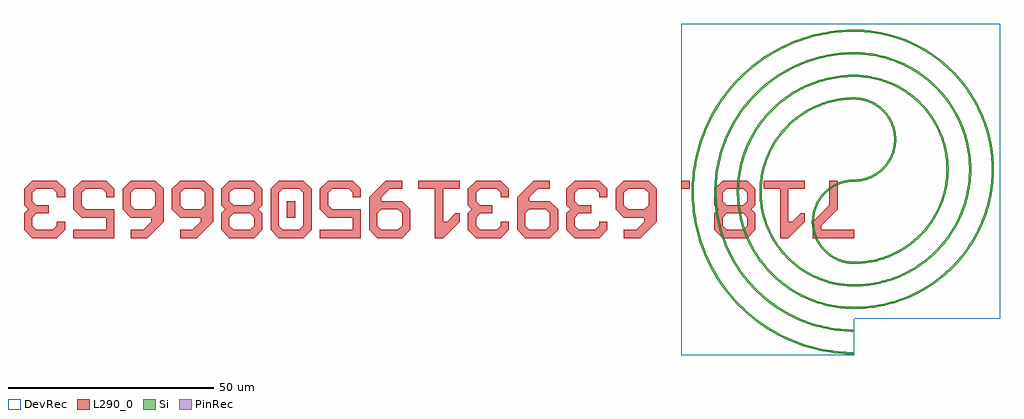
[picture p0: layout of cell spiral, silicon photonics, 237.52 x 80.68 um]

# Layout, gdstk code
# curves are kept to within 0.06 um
from math import pi, radians
import gdstk
lib = gdstk.Library(unit=1e-6, precision=1e-09)
def R(c, l, rs):  # rectangles x0, y0, x1, y1
    for r in rs: c.add(gdstk.rectangle(r[:2], r[2:], *l))
def P(c, l, *ps):  # polygons
    for p in ps: c.add(gdstk.Polygon(p, *l))
Si = (1, 0)
PinRec = (1, 10)
DevRec = (68, 0)
L290_0 = (290, 0)

spiral = lib.new_cell('Spiral')
P(spiral, Si, [(0,-0.25),(0,0.25),(1.194,0.323),(2.369,0.542),(3.509,0.903),(4.384,1.291),(5.808,2.169),(7.061,3.277),(8.237,4.784),(9.097,6.491),(9.563,8.098),(9.75,10),(9.563,11.902),(9.097,13.509),(8.237,15.216),(7.061,16.723),(5.808,17.831),(4.384,18.709),(3.509,19.097),(2.369,19.458),(1.194,19.677),(0,19.75),(0,20.25),(1.005,20.201),(2,20.053),(2.975,19.809),(3.923,19.47),(5.695,18.523),(7.248,17.248),(8.523,15.695),(9.47,13.923),(9.809,12.975),(10.053,12),(10.201,11.005),(10.25,10),(10.201,8.995),(10.053,8),(9.809,7.025),(9.47,6.077),(8.523,4.305),(7.248,2.752),(5.695,1.477),(3.923,0.53),(2.975,0.191),(2,-0.053),(1.005,-0.201)],
  [(0,-20.25),(-1.005,-20.201),(-2,-20.053),(-3.923,-19.47),(-5.695,-18.523),(-7.248,-17.248),(-8.523,-15.695),(-9.47,-13.923),(-10.053,-12),(-10.201,-11.005),(-10.25,-10),(-10.201,-8.995),(-10.001,-7.754),(-9.371,-5.846),(-8.792,-4.73),(-8.233,-3.894),(-7.424,-2.932),(-6.695,-2.239),(-5.052,-1.082),(-4.154,-0.629),(-3.215,-0.267),(-1.504,0.139),(0.956,0.297),(2.136,0.487),(3.509,0.903),(4.806,1.517),(6.185,2.463),(7.537,3.815),(8.599,5.404),(9.258,6.942),(9.563,8.098),(9.724,9.283),(9.747,10.239),(9.644,11.431),(9.458,12.369),(9.097,13.509),(8.599,14.596),(7.971,15.614),(7.224,16.548),(6.548,17.224),(5.013,18.363),(3.951,18.914),(2.6,19.397),(1.194,19.677),(0,19.75),(0,20.25),(1.005,20.201),(2,20.053),(3.923,19.47),(5.695,18.523),(7.248,17.248),(8.523,15.695),(9.47,13.923),(10.053,12),(10.201,11.005),(10.25,10),(10.201,8.995),(10.001,7.754),(9.371,5.846),(8.792,4.73),(8.233,3.894),(7.424,2.932),(6.695,2.239),(5.052,1.082),(4.154,0.629),(3.215,0.267),(1.504,-0.139),(-0.956,-0.297),(-2.136,-0.487),(-3.509,-0.903),(-4.806,-1.517),(-6.185,-2.463),(-7.537,-3.815),(-8.599,-5.404),(-9.258,-6.942),(-9.563,-8.098),(-9.724,-9.283),(-9.747,-10.239),(-9.644,-11.431),(-9.458,-12.369),(-9.097,-13.509),(-8.599,-14.596),(-7.971,-15.614),(-7.224,-16.548),(-6.548,-17.224),(-5.013,-18.363),(-3.951,-18.914),(-2.6,-19.397),(-1.194,-19.677),(0,-19.75)],
  [(0,-20.25),(0,-19.75),(2.205,-19.642),(4.39,-19.318),(6.531,-18.781),(9.118,-17.82),(11.09,-16.827),(12.956,-15.646),(14.274,-14.643),(15.91,-13.16),(17.393,-11.524),(18.708,-9.75),(19.843,-7.856),(20.787,-5.86),(21.531,-3.781),(22.068,-1.64),(22.392,0.545),(22.5,2.75),(22.392,4.955),(22.068,7.14),(21.531,9.281),(20.787,11.36),(19.843,13.356),(18.708,15.25),(17.393,17.024),(15.91,18.66),(14.274,20.143),(12.956,21.146),(11.09,22.327),(9.118,23.32),(6.531,24.281),(4.39,24.818),(2.205,25.142),(0,25.25),(0,25.75),(2.254,25.639),(4.487,25.308),(6.677,24.76),(8.802,23.999),(10.842,23.034),(12.778,21.874),(14.591,20.529),(16.263,19.013),(17.779,17.341),(19.124,15.528),(20.284,13.592),(21.249,11.552),(22.01,9.427),(22.558,7.237),(22.889,5.004),(23,2.75),(22.889,0.496),(22.558,-1.737),(22.01,-3.927),(21.249,-6.052),(20.284,-8.092),(19.124,-10.028),(17.779,-11.841),(16.263,-13.513),(14.591,-15.029),(12.778,-16.374),(10.842,-17.534),(8.802,-18.499),(6.677,-19.26),(4.487,-19.808),(2.254,-20.139)],
  [(0,-25.75),(-2.254,-25.639),(-4.487,-25.308),(-6.677,-24.76),(-8.802,-23.999),(-10.842,-23.034),(-12.778,-21.874),(-14.591,-20.529),(-16.263,-19.013),(-17.779,-17.341),(-19.124,-15.528),(-20.284,-13.592),(-21.249,-11.552),(-22.01,-9.427),(-22.558,-7.237),(-22.889,-5.004),(-23,-2.75),(-22.889,-0.496),(-22.558,1.737),(-22.01,3.927),(-21.249,6.052),(-20.284,8.092),(-19.124,10.028),(-17.779,11.841),(-16.263,13.513),(-14.591,15.029),(-12.778,16.374),(-10.842,17.534),(-8.802,18.499),(-6.677,19.26),(-4.487,19.808),(-2.254,20.139),(0,20.25),(0,19.75),(-2.205,19.642),(-4.39,19.318),(-6.531,18.781),(-9.118,17.82),(-11.09,16.827),(-12.956,15.646),(-14.274,14.643),(-15.91,13.16),(-17.393,11.524),(-18.708,9.75),(-19.843,7.856),(-20.787,5.86),(-21.531,3.781),(-22.068,1.64),(-22.392,-0.545),(-22.5,-2.75),(-22.392,-4.955),(-22.068,-7.14),(-21.531,-9.281),(-20.787,-11.36),(-19.843,-13.356),(-18.708,-15.25),(-17.393,-17.024),(-15.91,-18.66),(-14.274,-20.143),(-12.956,-21.146),(-11.09,-22.327),(-9.118,-23.32),(-6.531,-24.281),(-4.39,-24.818),(-2.205,-25.142),(0,-25.25)],
  [(0,-25.75),(0,-25.25),(2.744,-25.115),(4.787,-24.838),(6.135,-24.57),(8.783,-23.837),(11.347,-22.848),(13.801,-21.612),(16.123,-20.142),(18.289,-18.452),(19.799,-17.049),(21.644,-15.013),(23.281,-12.806),(24.694,-10.449),(25.869,-7.965),(26.794,-5.378),(27.462,-2.713),(27.865,0.006),(28,2.75),(27.865,5.494),(27.462,8.213),(26.794,10.878),(25.869,13.465),(24.694,15.949),(23.281,18.306),(21.644,20.513),(19.799,22.549),(18.289,23.952),(16.123,25.642),(13.801,27.112),(11.347,28.348),(8.783,29.337),(6.135,30.07),(4.787,30.338),(2.744,30.615),(0,30.75),(0,31.25),(2.793,31.113),(5.56,30.702),(8.273,30.023),(10.906,29.081),(13.435,27.885),(15.834,26.447),(18.08,24.781),(20.153,22.903),(22.031,20.83),(23.697,18.584),(25.135,16.185),(26.331,13.656),(27.273,11.023),(27.952,8.31),(28.363,5.543),(28.5,2.75),(28.363,-0.043),(27.952,-2.81),(27.273,-5.523),(26.331,-8.156),(25.135,-10.685),(23.697,-13.084),(22.031,-15.33),(20.153,-17.403),(18.08,-19.281),(15.834,-20.947),(13.435,-22.385),(10.906,-23.581),(8.273,-24.523),(5.56,-25.202),(2.793,-25.613)],
  [(0,-31.25),(-2.793,-31.113),(-5.56,-30.702),(-8.273,-30.023),(-10.906,-29.081),(-13.435,-27.885),(-15.834,-26.447),(-18.08,-24.781),(-20.153,-22.903),(-22.031,-20.83),(-23.697,-18.584),(-25.135,-16.185),(-26.331,-13.656),(-27.273,-11.023),(-27.952,-8.31),(-28.363,-5.543),(-28.5,-2.75),(-28.363,0.043),(-27.952,2.81),(-27.273,5.523),(-26.331,8.156),(-25.135,10.685),(-23.697,13.084),(-22.031,15.33),(-20.153,17.403),(-18.08,19.281),(-15.834,20.947),(-13.435,22.385),(-10.906,23.581),(-8.273,24.523),(-5.56,25.202),(-2.793,25.613),(0,25.75),(0,25.25),(-2.744,25.115),(-4.787,24.838),(-6.135,24.57),(-8.783,23.837),(-11.347,22.848),(-13.801,21.612),(-16.123,20.142),(-18.289,18.452),(-19.799,17.049),(-21.644,15.013),(-23.281,12.806),(-24.694,10.449),(-25.869,7.965),(-26.794,5.378),(-27.462,2.713),(-27.865,-0.006),(-28,-2.75),(-27.865,-5.494),(-27.462,-8.213),(-26.794,-10.878),(-25.869,-13.465),(-24.694,-15.949),(-23.281,-18.306),(-21.644,-20.513),(-19.799,-22.549),(-18.289,-23.952),(-16.123,-25.642),(-13.801,-27.112),(-11.347,-28.348),(-8.783,-29.337),(-6.135,-30.07),(-4.787,-30.338),(-2.744,-30.615),(0,-30.75)],
  [(0,-31.25),(0,-30.75),(1.644,-30.71),(4.101,-30.498),(5.727,-30.257),(8.14,-29.746),(11.286,-28.792),(13.576,-27.876),(16.512,-26.398),(19.29,-24.639),(21.252,-23.146),(23.688,-20.938),(25.896,-18.502),(27.854,-15.862),(29.544,-13.042),(30.95,-10.07),(32.058,-6.975),(32.856,-3.786),(33.339,-0.534),(33.5,2.75),(33.339,6.034),(32.856,9.286),(32.058,12.475),(30.95,15.57),(29.544,18.542),(27.854,21.362),(25.896,24.002),(23.688,26.438),(21.252,28.646),(19.29,30.139),(16.512,31.898),(13.576,33.376),(11.286,34.292),(8.14,35.246),(5.727,35.757),(4.101,35.998),(1.644,36.21),(0,36.25),(0,36.75),(3.333,36.586),(6.633,36.097),(9.87,35.286),(13.011,34.162),(16.027,32.735),(18.889,31.02),(21.569,29.032),(24.042,26.792),(26.282,24.319),(28.27,21.639),(29.985,18.777),(31.412,15.761),(32.536,12.62),(33.347,9.383),(33.836,6.083),(34,2.75),(33.836,-0.583),(33.347,-3.883),(32.536,-7.12),(31.412,-10.261),(29.985,-13.277),(28.27,-16.139),(26.282,-18.819),(24.042,-21.292),(21.569,-23.532),(18.889,-25.52),(16.027,-27.235),(13.011,-28.662),(9.87,-29.786),(6.633,-30.597),(3.333,-31.086)],
  [(0,-36.75),(-3.333,-36.586),(-6.633,-36.097),(-9.87,-35.286),(-13.011,-34.162),(-16.027,-32.735),(-18.889,-31.02),(-21.569,-29.032),(-24.042,-26.792),(-26.282,-24.319),(-28.27,-21.639),(-29.985,-18.777),(-31.412,-15.761),(-32.536,-12.62),(-33.347,-9.383),(-33.836,-6.083),(-34,-2.75),(-33.836,0.583),(-33.347,3.883),(-32.536,7.12),(-31.412,10.261),(-29.985,13.277),(-28.27,16.139),(-26.282,18.819),(-24.042,21.292),(-21.569,23.532),(-18.889,25.52),(-16.027,27.235),(-13.011,28.662),(-9.87,29.786),(-6.633,30.597),(-3.333,31.086),(0,31.25),(0,30.75),(-1.644,30.71),(-4.101,30.498),(-5.727,30.257),(-8.14,29.746),(-11.286,28.792),(-13.576,27.876),(-16.512,26.398),(-19.29,24.639),(-21.252,23.146),(-23.688,20.938),(-25.896,18.502),(-27.854,15.862),(-29.544,13.042),(-30.95,10.07),(-32.058,6.975),(-32.856,3.786),(-33.339,0.534),(-33.5,-2.75),(-33.339,-6.034),(-32.856,-9.286),(-32.058,-12.475),(-30.95,-15.57),(-29.544,-18.542),(-27.854,-21.362),(-25.896,-24.002),(-23.688,-26.438),(-21.252,-28.646),(-19.29,-30.139),(-16.512,-31.898),(-13.576,-33.376),(-11.286,-34.292),(-8.14,-35.246),(-5.727,-35.757),(-4.101,-35.998),(-1.644,-36.21),(0,-36.25)],
  [(0,-36.75),(0,-36.25),(1.914,-36.203),(4.774,-35.957),(7.609,-35.501),(9.476,-35.081),(12.234,-34.282),(15.804,-32.904),(19.223,-31.183),(22.457,-29.136),(25.474,-26.781),(27.577,-24.827),(30.147,-21.991),(32.427,-18.917),(34.395,-15.634),(36.031,-12.175),(37.321,-8.571),(38.251,-4.859),(38.812,-1.073),(39,2.75),(38.812,6.573),(38.251,10.359),(37.321,14.071),(36.031,17.675),(34.395,21.134),(32.427,24.417),(30.147,27.491),(27.577,30.327),(25.474,32.281),(22.457,34.636),(19.223,36.683),(15.804,38.404),(12.234,39.782),(9.476,40.581),(7.609,41.001),(4.774,41.457),(1.914,41.703),(0,41.75),(0,42.25),(3.872,42.06),(7.706,41.491),(11.466,40.549),(15.116,39.243),(18.62,37.586),(21.945,35.593),(25.059,33.284),(27.931,30.681),(30.534,27.809),(32.843,24.695),(34.836,21.37),(36.493,17.866),(37.799,14.216),(38.741,10.456),(39.31,6.622),(39.5,2.75),(39.31,-1.122),(38.741,-4.956),(37.799,-8.716),(36.493,-12.366),(34.836,-15.87),(32.843,-19.195),(30.534,-22.309),(27.931,-25.181),(25.059,-27.784),(21.945,-30.093),(18.62,-32.086),(15.116,-33.743),(11.466,-35.049),(7.706,-35.991),(3.872,-36.56)])
R(spiral, L290_0, [(40,0,42,2), (136,5,138,9)])
P(spiral, L290_0, [(4,0),(4,7),(8,11),(8,12),(0,12),(0,14),(10,14),(10,10),(6,6),(6,0)],
  [(12,0),(12,2),(16,2),(16,10),(15,10),(13,8),(12,8),(12,10),(16,14),(18,14),(18,2),(22,2),(22,0)],
  [(26,0),(24,2),(24,6),(25,7),(24,8),(24,12),(26,14),(32,14),(34,12),(27,12),(26,11),(26,9),(27,8),(31,8),(32,9),(32,11),(31,12),(34,12),(34,8),(33,7),(34,6),(27,6),(26,5),(26,3),(27,2),(31,2),(32,3),(32,5),(31,6),(34,6),(34,2),(32,0)],
  [(50,0),(48,2),(48,10),(52,14),(56,14),(56,12),(53,12),(51,10),(51,9),(56,9),(58,7),(51,7),(50,6),(50,3),(51,2),(55,2),(56,3),(56,6),(55,7),(58,7),(58,2),(56,0)],
  [(62,0),(60,2),(60,4),(62,4),(62,3),(63,2),(67,2),(68,3),(68,5),(67,6),(64,6),(64,8),(67,8),(68,9),(68,11),(67,12),(63,12),(62,11),(62,10),(60,10),(60,12),(62,14),(68,14),(70,12),(70,8),(69,7),(70,6),(70,2),(68,0)],
  [(74,0),(74,2),(77,2),(79,4),(79,5),(74,5),(72,7),(79,7),(80,8),(80,11),(79,12),(75,12),(74,11),(74,8),(75,7),(72,7),(72,12),(74,14),(80,14),(82,12),(82,4),(78,0)],
  [(86,0),(84,2),(84,4),(86,4),(86,3),(87,2),(91,2),(92,3),(92,5),(91,6),(88,6),(88,8),(91,8),(92,9),(92,11),(91,12),(87,12),(86,11),(86,10),(84,10),(84,12),(86,14),(92,14),(94,12),(94,8),(93,7),(94,6),(94,2),(92,0)],
  [(96,0),(96,2),(100,2),(100,10),(99,10),(97,8),(96,8),(96,10),(100,14),(102,14),(102,2),(106,2),(106,0)],
  [(110,0),(110,2),(113,2),(115,4),(115,5),(110,5),(108,7),(115,7),(116,8),(116,11),(115,12),(111,12),(110,11),(110,8),(111,7),(108,7),(108,12),(110,14),(116,14),(118,12),(118,4),(114,0)],
  [(122,0),(120,2),(120,4),(122,4),(122,3),(123,2),(127,2),(128,3),(128,6),(127,7),(120,7),(120,14),(130,14),(130,12),(122,12),(122,9),(128,9),(130,7),(130,2),(128,0)],
  [(134,0),(132,2),(132,12),(134,14),(140,14),(142,12),(135,12),(134,11),(134,3),(135,2),(139,2),(140,3),(140,11),(139,12),(142,12),(142,2),(140,0)],
  [(146,0),(144,2),(144,6),(145,7),(144,8),(144,12),(146,14),(152,14),(154,12),(147,12),(146,11),(146,9),(147,8),(151,8),(152,9),(152,11),(151,12),(154,12),(154,8),(153,7),(154,6),(147,6),(146,5),(146,3),(147,2),(151,2),(152,3),(152,5),(151,6),(154,6),(154,2),(152,0)],
  [(158,0),(156,2),(156,10),(160,14),(164,14),(164,12),(161,12),(159,10),(159,9),(164,9),(166,7),(159,7),(158,6),(158,3),(159,2),(163,2),(164,3),(164,6),(163,7),(166,7),(166,2),(164,0)],
  [(170,0),(168,2),(168,10),(172,14),(176,14),(176,12),(173,12),(171,10),(171,9),(176,9),(178,7),(171,7),(170,6),(170,3),(171,2),(175,2),(176,3),(176,6),(175,7),(178,7),(178,2),(176,0)],
  [(182,0),(180,2),(180,4),(182,4),(182,3),(183,2),(187,2),(188,3),(188,6),(187,7),(180,7),(180,14),(190,14),(190,12),(182,12),(182,9),(188,9),(190,7),(190,2),(188,0)],
  [(194,0),(192,2),(192,4),(194,4),(194,3),(195,2),(199,2),(200,3),(200,5),(199,6),(196,6),(196,8),(199,8),(200,9),(200,11),(199,12),(195,12),(194,11),(194,10),(192,10),(192,12),(194,14),(200,14),(202,12),(202,8),(201,7),(202,6),(202,2),(200,0)])
spiral.add(gdstk.FlexPath([(0.05,42),(-0.05,42)], 0.5, ends="flush", simple_path=True, layer=1, datatype=10))  # PinRec
spiral.add(gdstk.FlexPath([(0.05,36.5),(-0.05,36.5)], 0.5, ends="flush", simple_path=True, layer=1, datatype=10))  # PinRec
spiral.add(gdstk.Label('pin1', (0,42), layer=1, texttype=10))
spiral.add(gdstk.Label('pin2', (0,36.5), layer=1, texttype=10))

c_spiral = lib.new_cell('spiral')
P(c_spiral, DevRec, [(41.97,-39.75),(41.97,40.93),(119.52,40.93),(119.52,-30.86),(84,-30.86),(84,-39.75)])
c_spiral.add(gdstk.Reference(spiral, (84,2.75), rotation=pi))

lib.write_gds('spiral.gds')
